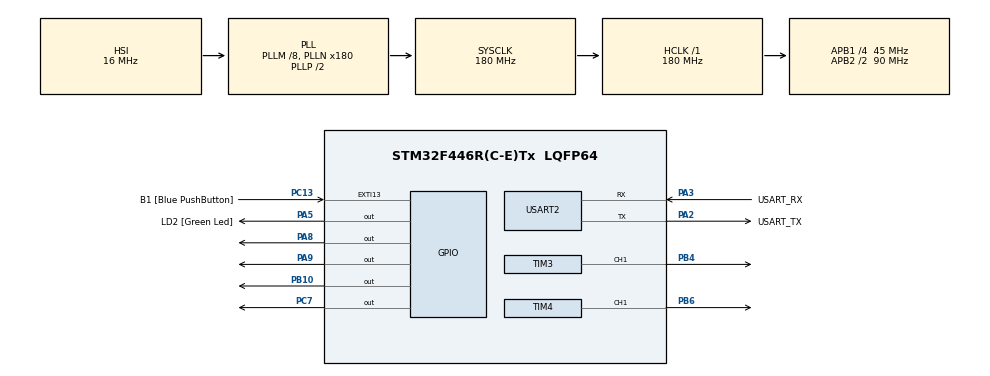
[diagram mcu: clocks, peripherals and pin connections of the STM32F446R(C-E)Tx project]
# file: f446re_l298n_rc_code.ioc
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Mcu.Family=STM32F4
Mcu.Name=STM32F446R(C-E)Tx
Mcu.Package=LQFP64
NVIC.PriorityGroup=NVIC_PRIORITYGROUP_0
PA13.GPIO_Label=TMS
PA13.Mode=Serial_Wire
PA13.Signal=SYS_JTMS-SWDIO
PA14.GPIO_Label=TCK
PA14.Mode=Serial_Wire
PA14.Signal=SYS_JTCK-SWCLK
PA2.GPIO_Label=USART_TX
PA2.Mode=Asynchronous
PA2.Signal=USART2_TX
PA3.GPIO_Label=USART_RX
PA3.Mode=Asynchronous
PA3.Signal=USART2_RX
PA5.GPIO_Label=LD2 [Green Led]
PA5.Signal=GPIO_Output
PA8.Signal=GPIO_Output
PA9.Signal=GPIO_Output
PB10.Signal=GPIO_Output
PB3.GPIO_Label=SWO
PB3.Signal=SYS_JTDO-SWO
PB4.Signal=S_TIM3_CH1
PB6.Signal=S_TIM4_CH1
PC13.GPIO_Label=B1 [Blue PushButton]
PC13.GPIO_ModeDefaultEXTI=GPIO_MODE_IT_FALLING
PC13.Signal=GPXTI13
PC14-OSC32_IN.Mode=LSE-External-Oscillator
PC14-OSC32_IN.Signal=RCC_OSC32_IN
PC15-OSC32_OUT.Mode=LSE-External-Oscillator
PC15-OSC32_OUT.Signal=RCC_OSC32_OUT
PC7.Signal=GPIO_Output
PH0-OSC_IN.Mode=HSE-External-Oscillator
PH0-OSC_IN.Signal=RCC_OSC_IN
PH1-OSC_OUT.Mode=HSE-External-Oscillator
PH1-OSC_OUT.Signal=RCC_OSC_OUT
ProjectManager.HeapSize=0x200
ProjectManager.StackSize=0x400
ProjectManager.TargetToolchain=STM32CubeIDE
RCC.48MHZClocksFreq_Value=84000000
RCC.AHBFreq_Value=180000000
RCC.APB1CLKDivider=RCC_HCLK_DIV4
RCC.APB1Freq_Value=45000000
RCC.APB1TimFreq_Value=90000000
RCC.APB2CLKDivider=RCC_HCLK_DIV2
RCC.APB2Freq_Value=90000000
RCC.APB2TimFreq_Value=180000000
RCC.CortexFreq_Value=180000000
RCC.FLatency-AdvancedSettings=FLASH_LATENCY_5
RCC.HCLKFreq_Value=180000000
RCC.HSE_VALUE=8000000
RCC.HSI_VALUE=16000000
RCC.PLLM=8
RCC.PLLN=180
RCC.SYSCLKFreq_VALUE=180000000
RCC.SYSCLKSource=RCC_SYSCLKSOURCE_PLLCLK
RCC.USBFreq_Value=180000000
RCC.VCOOutputFreq_Value=360000000
SH.S_TIM3_CH1.0=TIM3_CH1,PWM Generation1 CH1
SH.S_TIM4_CH1.0=TIM4_CH1,PWM Generation1 CH1
TIM3.Channel-PWM\ Generation1\ CH1=TIM_CHANNEL_1
TIM4.Channel-PWM\ Generation1\ CH1=TIM_CHANNEL_1
USART2.VirtualMode=VM_ASYNC
board=NUCLEO-F446RE

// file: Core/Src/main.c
/* USER CODE BEGIN Header */
/**
 ******************************************************************************
 * @file           : main.c
 * @brief          : Main program body
 ******************************************************************************
 * @attention
 *
 * Copyright (c) 2023 STMicroelectronics.
 * All rights reserved.
 *
 * This software is licensed under terms that can be found in the LICENSE file
 * in the root directory of this software component.
 * If no LICENSE file comes with this software, it is provided AS-IS.
 *
 ******************************************************************************
 */
/* USER CODE END Header */
#include "main.h"

TIM_HandleTypeDef htim3;
TIM_HandleTypeDef htim4;

UART_HandleTypeDef huart2;

/* USER CODE BEGIN PV */

char incomingByte; // for incoming serial data
const int speed_min = 135; //the minimum "speed" the motors will turn - take it lower and motors don't turn
const int speed_max = 255; //

int speed = speed_min; // set both motors to maximum speed

/* USER CODE END PV */

void SystemClock_Config(void);
static void MX_GPIO_Init(void);
static void MX_USART2_UART_Init(void);
static void MX_TIM3_Init(void);
static void MX_TIM4_Init(void);
/* USER CODE BEGIN PFP */
void stopo();
void left();
void right();
void forward();
void backward();
void forward_left();
void forward_right();
void back_left();
void back_right();
void analogWrite1(int data_speed);
void analogWrite2(int data_speed);
void wheel(int lm, int rm);

/* USER CODE END PFP */

int main(void) {

	/* MCU Configuration--------------------------------------------------------*/

	/* Reset of all peripherals, Initializes the Flash interface and the Systick. */
	HAL_Init();

	/* Configure the system clock */
	SystemClock_Config();

	/* Initialize all configured peripherals */
	MX_GPIO_Init();
	MX_USART2_UART_Init();
	MX_TIM3_Init();
	MX_TIM4_Init();
	/* USER CODE BEGIN 2 */
	HAL_TIM_PWM_Start(&htim3, TIM_CHANNEL_1);
	HAL_TIM_PWM_Start(&htim4, TIM_CHANNEL_1);

	/* USER CODE END 2 */

	/* Infinite loop */
	while (1) {

		/* USER CODE BEGIN 3 */

//		if (Serial.available() > 0) {
//			incomingByte = Serial.read();
//		}
		HAL_UART_Receive_DMA(&huart2, incomingByte, 4);
		switch (incomingByte) {
		case 'S': {
			stopo();
			//Serial.println("Stop\n");
			incomingByte = '*';
		}
			break;

		case 'F':

		{
			forward();

			// Serial.println("Forward\n");
			incomingByte = '*';
		}
			break;

		case 'B':

		{
			backward();
			// Serial.println("Backward\n");
			incomingByte = '*';
		}
			break;

		case 'L':
			// turn right
		{
			right();
			// Serial.println("Rotate Right\n");
			incomingByte = '*';
		}
			break;
		case 'R': {
			left();
			//Serial.println("Rotate Left\n");
			incomingByte = '*';
		}
			break;
		case '1':

		{
			speed= 100;

			//Serial.println("Speed 1\n");
			incomingByte = '*';
		}
			break;
		case '2': {
			speed = 130;

			//Serial.println("Speed 2 \n");
			incomingByte = '*';
		}
			break;
		case '3': {
			speed= 140;

			//Serial.println("Speed 3 \n");
			incomingByte = '*';
		}
			break;
		case '4': {
			speed = 150;

			//Serial.println("Speed 4 \n");
			incomingByte = '*';
		}
			break;
		case '5': {
			speed= 170;

			//Serial.println("Speed 5 \n");
			incomingByte = '*';
		}
			break;
		case '6': {
			speed= 180;

			//Serial.println("Speed 6 \n");
			incomingByte = '*';
		}
			break;
		case '7': {
			speed = 200;

			// Serial.println("Speed 7 \n");
			incomingByte = '*';
		}
			break;
		case '8': {
			speed= 210;

			//Serial.println("Speed 8 \n");
			incomingByte = '*';
		}
			break;
		case '9': {
			speed = 220;

			//Serial.println("Speed 9 \n");
			incomingByte = '*';
		}
			break;
		case 'q': {
			speed = 255;

			//Serial.println("Speed full \n");
			incomingByte = '*';
		}
			break;

		}

	}
	/* USER CODE END 3 */
}

void SystemClock_Config(void) {
	RCC_OscInitTypeDef RCC_OscInitStruct = { 0 };
	RCC_ClkInitTypeDef RCC_ClkInitStruct = { 0 };

	/** Configure the main internal regulator output voltage
	 */
	__HAL_RCC_PWR_CLK_ENABLE();
	__HAL_PWR_VOLTAGESCALING_CONFIG(PWR_REGULATOR_VOLTAGE_SCALE1);

	/** Initializes the RCC Oscillators according to the specified parameters
	 * in the RCC_OscInitTypeDef structure.
	 */
	RCC_OscInitStruct.OscillatorType = RCC_OSCILLATORTYPE_HSI;
	RCC_OscInitStruct.HSIState = RCC_HSI_ON;
	RCC_OscInitStruct.HSICalibrationValue = RCC_HSICALIBRATION_DEFAULT;
	RCC_OscInitStruct.PLL.PLLState = RCC_PLL_ON;
	RCC_OscInitStruct.PLL.PLLSource = RCC_PLLSOURCE_HSI;
	RCC_OscInitStruct.PLL.PLLM = 8;
	RCC_OscInitStruct.PLL.PLLN = 180;
	RCC_OscInitStruct.PLL.PLLP = RCC_PLLP_DIV2;
	RCC_OscInitStruct.PLL.PLLQ = 2;
	RCC_OscInitStruct.PLL.PLLR = 2;
	if (HAL_RCC_OscConfig(&RCC_OscInitStruct) != HAL_OK) {
		Error_Handler();
	}

	/** Activate the Over-Drive mode
	 */
	if (HAL_PWREx_EnableOverDrive() != HAL_OK) {
		Error_Handler();
	}

	/** Initializes the CPU, AHB and APB buses clocks
	 */
	RCC_ClkInitStruct.ClockType = RCC_CLOCKTYPE_HCLK | RCC_CLOCKTYPE_SYSCLK
			| RCC_CLOCKTYPE_PCLK1 | RCC_CLOCKTYPE_PCLK2;
	RCC_ClkInitStruct.SYSCLKSource = RCC_SYSCLKSOURCE_PLLCLK;
	RCC_ClkInitStruct.AHBCLKDivider = RCC_SYSCLK_DIV1;
	RCC_ClkInitStruct.APB1CLKDivider = RCC_HCLK_DIV4;
	RCC_ClkInitStruct.APB2CLKDivider = RCC_HCLK_DIV2;

	if (HAL_RCC_ClockConfig(&RCC_ClkInitStruct, FLASH_LATENCY_5) != HAL_OK) {
		Error_Handler();
	}
}

static void MX_TIM3_Init(void) {

	TIM_MasterConfigTypeDef sMasterConfig = { 0 };
	TIM_OC_InitTypeDef sConfigOC = { 0 };

	htim3.Instance = TIM3;
	htim3.Init.Prescaler = 0;
	htim3.Init.CounterMode = TIM_COUNTERMODE_UP;
	htim3.Init.Period = 65535;
	htim3.Init.ClockDivision = TIM_CLOCKDIVISION_DIV1;
	htim3.Init.AutoReloadPreload = TIM_AUTORELOAD_PRELOAD_DISABLE;
	if (HAL_TIM_PWM_Init(&htim3) != HAL_OK) {
		Error_Handler();
	}
	sMasterConfig.MasterOutputTrigger = TIM_TRGO_RESET;
	sMasterConfig.MasterSlaveMode = TIM_MASTERSLAVEMODE_DISABLE;
	if (HAL_TIMEx_MasterConfigSynchronization(&htim3, &sMasterConfig)
			!= HAL_OK) {
		Error_Handler();
	}
	sConfigOC.OCMode = TIM_OCMODE_PWM1;
	sConfigOC.Pulse = 0;
	sConfigOC.OCPolarity = TIM_OCPOLARITY_HIGH;
	sConfigOC.OCFastMode = TIM_OCFAST_DISABLE;
	if (HAL_TIM_PWM_ConfigChannel(&htim3, &sConfigOC, TIM_CHANNEL_1)
			!= HAL_OK) {
		Error_Handler();
	}
	HAL_TIM_MspPostInit(&htim3);

}

static void MX_TIM4_Init(void) {

	TIM_MasterConfigTypeDef sMasterConfig = { 0 };
	TIM_OC_InitTypeDef sConfigOC = { 0 };

	htim4.Instance = TIM4;
	htim4.Init.Prescaler = 0;
	htim4.Init.CounterMode = TIM_COUNTERMODE_UP;
	htim4.Init.Period = 65535;
	htim4.Init.ClockDivision = TIM_CLOCKDIVISION_DIV1;
	htim4.Init.AutoReloadPreload = TIM_AUTORELOAD_PRELOAD_DISABLE;
	if (HAL_TIM_PWM_Init(&htim4) != HAL_OK) {
		Error_Handler();
	}
	sMasterConfig.MasterOutputTrigger = TIM_TRGO_RESET;
	sMasterConfig.MasterSlaveMode = TIM_MASTERSLAVEMODE_DISABLE;
	if (HAL_TIMEx_MasterConfigSynchronization(&htim4, &sMasterConfig)
			!= HAL_OK) {
		Error_Handler();
	}
	sConfigOC.OCMode = TIM_OCMODE_PWM1;
	sConfigOC.Pulse = 0;
	sConfigOC.OCPolarity = TIM_OCPOLARITY_HIGH;
	sConfigOC.OCFastMode = TIM_OCFAST_DISABLE;
	if (HAL_TIM_PWM_ConfigChannel(&htim4, &sConfigOC, TIM_CHANNEL_1)
			!= HAL_OK) {
		Error_Handler();
	}
	HAL_TIM_MspPostInit(&htim4);

}

static void MX_USART2_UART_Init(void) {

	huart2.Instance = USART2;
	huart2.Init.BaudRate = 115200;
	huart2.Init.WordLength = UART_WORDLENGTH_8B;
	huart2.Init.StopBits = UART_STOPBITS_1;
	huart2.Init.Parity = UART_PARITY_NONE;
	huart2.Init.Mode = UART_MODE_TX_RX;
	huart2.Init.HwFlowCtl = UART_HWCONTROL_NONE;
	huart2.Init.OverSampling = UART_OVERSAMPLING_16;
	if (HAL_UART_Init(&huart2) != HAL_OK) {
		Error_Handler();
	}

}

static void MX_GPIO_Init(void) {
	GPIO_InitTypeDef GPIO_InitStruct = { 0 };

	/* GPIO Ports Clock Enable */
	__HAL_RCC_GPIOC_CLK_ENABLE();
	__HAL_RCC_GPIOH_CLK_ENABLE();
	__HAL_RCC_GPIOA_CLK_ENABLE();
	__HAL_RCC_GPIOB_CLK_ENABLE();

	/*Configure GPIO pin Output Level */
	HAL_GPIO_WritePin(GPIOA, LD2_Pin | GPIO_PIN_8 | GPIO_PIN_9, GPIO_PIN_RESET);

	/*Configure GPIO pin Output Level */
	HAL_GPIO_WritePin(GPIOB, GPIO_PIN_10, GPIO_PIN_RESET);

	/*Configure GPIO pin Output Level */
	HAL_GPIO_WritePin(GPIOC, GPIO_PIN_7, GPIO_PIN_RESET);

	/*Configure GPIO pin : B1_Pin */
	GPIO_InitStruct.Pin = B1_Pin;
	GPIO_InitStruct.Mode = GPIO_MODE_IT_FALLING;
	GPIO_InitStruct.Pull = GPIO_NOPULL;
	HAL_GPIO_Init(B1_GPIO_Port, &GPIO_InitStruct);

	/*Configure GPIO pins : LD2_Pin PA8 PA9 */
	GPIO_InitStruct.Pin = LD2_Pin | GPIO_PIN_8 | GPIO_PIN_9;
	GPIO_InitStruct.Mode = GPIO_MODE_OUTPUT_PP;
	GPIO_InitStruct.Pull = GPIO_NOPULL;
	GPIO_InitStruct.Speed = GPIO_SPEED_FREQ_LOW;
	HAL_GPIO_Init(GPIOA, &GPIO_InitStruct);

	/*Configure GPIO pin : PB10 */
	GPIO_InitStruct.Pin = GPIO_PIN_10;
	GPIO_InitStruct.Mode = GPIO_MODE_OUTPUT_PP;
	GPIO_InitStruct.Pull = GPIO_NOPULL;
	GPIO_InitStruct.Speed = GPIO_SPEED_FREQ_LOW;
	HAL_GPIO_Init(GPIOB, &GPIO_InitStruct);

	/*Configure GPIO pin : PC7 */
	GPIO_InitStruct.Pin = GPIO_PIN_7;
	GPIO_InitStruct.Mode = GPIO_MODE_OUTPUT_PP;
	GPIO_InitStruct.Pull = GPIO_NOPULL;
	GPIO_InitStruct.Speed = GPIO_SPEED_FREQ_LOW;
	HAL_GPIO_Init(GPIOC, &GPIO_InitStruct);

}

/* USER CODE BEGIN 4 */
void wheel(int lm, int rm) {
	if (lm == 0) {

		HAL_GPIO_WritePin(GPIOB, GPIO_PIN_10, GPIO_PIN_RESET);
		HAL_GPIO_WritePin(GPIOA, GPIO_PIN_8, GPIO_PIN_RESET);

	}
	if (lm > 0) {
		HAL_GPIO_WritePin(GPIOB, GPIO_PIN_10, GPIO_PIN_SET);
		HAL_GPIO_WritePin(GPIOA, GPIO_PIN_8, GPIO_PIN_RESET);

	} else if (lm < 0) {
		HAL_GPIO_WritePin(GPIOB, GPIO_PIN_10, GPIO_PIN_RESET);
		HAL_GPIO_WritePin(GPIOA, GPIO_PIN_8, GPIO_PIN_SET);

	}

	if (rm == 0) {
		HAL_GPIO_WritePin(GPIOA, GPIO_PIN_9, GPIO_PIN_RESET);
		HAL_GPIO_WritePin(GPIOC, GPIO_PIN_7, GPIO_PIN_RESET);

	}
	if (rm > 0) {
		HAL_GPIO_WritePin(GPIOA, GPIO_PIN_9, GPIO_PIN_SET);
		HAL_GPIO_WritePin(GPIOC, GPIO_PIN_7, GPIO_PIN_RESET);

	} else if (rm < 0) {
		HAL_GPIO_WritePin(GPIOA, GPIO_PIN_9, GPIO_PIN_RESET);
		HAL_GPIO_WritePin(GPIOC, GPIO_PIN_7, GPIO_PIN_SET);

	}
	if (lm > 254)
		lm = 254;
	if (lm < -254)
		lm = -254;
	if (rm > 254)
		rm = 254;
	if (rm < -254)
		rm = -254;

	analogWrite1(abs(rm));
	analogWrite2(abs(lm));

}
void analogWrite1(int data_speed) {
	int32_t CH1_DC = 0;
	while (CH1_DC < data_speed) {
		TIM3->CCR1 = CH1_DC;
		CH1_DC += 70;
		HAL_Delay(1);
	}
}
void analogWrite2(int data_speed) {
	int32_t CH1_DC = 0;
	while (CH1_DC < data_speed) {
		TIM4->CCR1 = CH1_DC;
		CH1_DC += 70;
		HAL_Delay(1);
	}
}
void right() {
	 wheel(speed, -speed);
}
;
void left() {
	 wheel(-speed, speed);
}
;
void backward() {
	 wheel(-speed, -speed);
}
;
void forward() {
	 wheel(speed, speed);
}
;
void stopo() {
	 wheel(0, 0);
}
;
void forward_left() {
	 wheel(0, speed);
}
;
void forward_right() {
	 wheel(speed, 0);
}
;
void back_left() {
	 wheel(-speed, 0);
}
;
void back_right() {
	 wheel(0, -speed);
}
;
/* USER CODE END 4 */

void Error_Handler(void) {
	__disable_irq();
	while (1) {
	}
}
